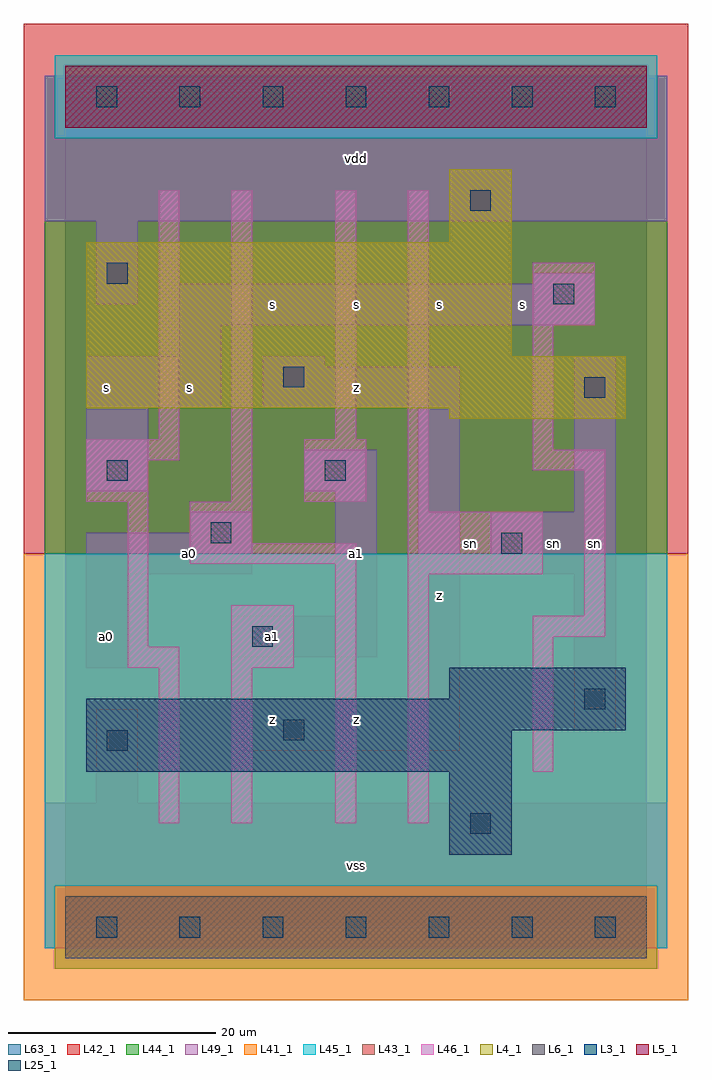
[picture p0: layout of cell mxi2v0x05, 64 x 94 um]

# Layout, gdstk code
import gdstk
lib = gdstk.Library(unit=1e-6, precision=1e-09)
def R(c, l, rs):  # rectangles x0, y0, x1, y1
    for r in rs: c.add(gdstk.rectangle(r[:2], r[2:], *l))
def A(c, l, x, y, w, h, nx, ny, dx, dy):  # array of equal rectangles
    R(c, l, [(x+i*dx, y+j*dy, x+i*dx+w, y+j*dy+h) for i in range(nx) for j in range(ny)])
L3_1 = (3, 1)
L4_1 = (4, 1)
L5_1 = (5, 1)
L6_1 = (6, 1)
L25_1 = (25, 1)
L41_1 = (41, 1)
L42_1 = (42, 1)
L43_1 = (43, 1)
L44_1 = (44, 1)
L45_1 = (45, 1)
L46_1 = (46, 1)
L49_1 = (49, 1)
L63_1 = (63, 1)

mxi2v0x05 = lib.new_cell('mxi2v0x05')
R(mxi2v0x05, L3_1, [(37,7,43,15), (2,15,43,19), (2,19,54,22), (37,22,54,25)])
R(mxi2v0x05, L4_1, [(37,49,54,50), (2,50,54,55), (2,55,43,66), (37,66,43,73)])
R(mxi2v0x05, L5_1, [(0,77,56,83)])
R(mxi2v0x05, L6_1, [(0,-3,56,3), (0,-3,56,3)])
A(mxi2v0x05, L25_1, 3, -1, 2, 2, 7, 2, 8, 80)
R(mxi2v0x05, L25_1, [(39,9,41,11), (4,17,6,19), (21,18,23,20), (50,21,52,23), (18,27,20,29), (42,36,44,38), (14,37,16,39), (4,43,6,45), (25,43,27,45), (50,51,52,53), (21,52,23,54), (47,60,49,62), (4,62,6,64), (39,69,41,71)])
R(mxi2v0x05, L41_1, [(-4,-7,60,36)])
R(mxi2v0x05, L42_1, [(-4,36,60,87)])
R(mxi2v0x05, L43_1, [(0,-3,56,3), (37,7,43,15), (2,15,43,19), (2,19,54,22), (37,22,54,25), (37,49,54,50), (2,50,54,55), (2,55,43,66), (37,66,43,73), (0,77,56,83)])
R(mxi2v0x05, L44_1, [(-1,-4,57,4), (-2,36,58,76), (-2,76,-1,82), (57,76,58,82)])
R(mxi2v0x05, L45_1, [(-2,-2,-1,4), (57,-2,58,4), (-2,4,58,36), (-1,76,57,84)])
R(mxi2v0x05, L46_1, [(9,10,11,25), (16,10,18,25), (26,10,28,35), (33,10,35,34), (45,15,47,28), (6,25,11,27), (16,25,22,31), (6,27,8,41), (45,28,52,30), (50,30,52,44), (33,34,46,40), (12,35,28,37), (12,37,18,41), (33,40,35,71), (2,41,8,45), (16,41,18,71), (23,41,29,47), (45,44,52,46), (2,45,11,47), (45,46,47,58), (9,47,11,71), (26,47,28,71), (45,58,51,64)])
R(mxi2v0x05, L49_1, [(-2,-2,58,12), (3,12,7,21), (17,17,38,22), (49,19,53,34), (34,22,38,50), (2,25,6,34), (16,26,30,30), (26,30,30,42), (2,34,18,38), (41,34,53,40), (12,38,18,40), (49,40,53,55), (2,42,8,50), (23,42,30,46), (2,50,15,55), (19,50,38,54), (19,54,25,55), (11,55,15,58), (11,58,51,62), (3,60,7,68), (45,62,51,63), (-2,68,58,82)])
R(mxi2v0x05, L63_1, [(0,0,56,80)])
mxi2v0x05.add(gdstk.Label('sn', (39,37), layer=46, texttype=1))
mxi2v0x05.add(gdstk.Label('a0', (4,28), layer=49, texttype=1))
mxi2v0x05.add(gdstk.Label('s', (4,52), layer=49, texttype=1))
mxi2v0x05.add(gdstk.Label('a0', (12,36), layer=49, texttype=1))
mxi2v0x05.add(gdstk.Label('s', (12,52), layer=49, texttype=1))
mxi2v0x05.add(gdstk.Label('vss', (28,6), layer=49, texttype=1))
mxi2v0x05.add(gdstk.Label('a1', (20,28), layer=49, texttype=1))
mxi2v0x05.add(gdstk.Label('z', (20,20), layer=49, texttype=1))
mxi2v0x05.add(gdstk.Label('z', (28,20), layer=49, texttype=1))
mxi2v0x05.add(gdstk.Label('a1', (28,36), layer=49, texttype=1))
mxi2v0x05.add(gdstk.Label('z', (28,52), layer=49, texttype=1))
mxi2v0x05.add(gdstk.Label('s', (20,60), layer=49, texttype=1))
mxi2v0x05.add(gdstk.Label('s', (28,60), layer=49, texttype=1))
mxi2v0x05.add(gdstk.Label('vdd', (28,74), layer=49, texttype=1))
mxi2v0x05.add(gdstk.Label('z', (36,32), layer=49, texttype=1))
mxi2v0x05.add(gdstk.Label('s', (36,60), layer=49, texttype=1))
mxi2v0x05.add(gdstk.Label('s', (44,60), layer=49, texttype=1))
mxi2v0x05.add(gdstk.Label('sn', (47,37), layer=49, texttype=1))
mxi2v0x05.add(gdstk.Label('sn', (51,37), layer=49, texttype=1))

lib.write_gds('mxi2v0x05.gds')
